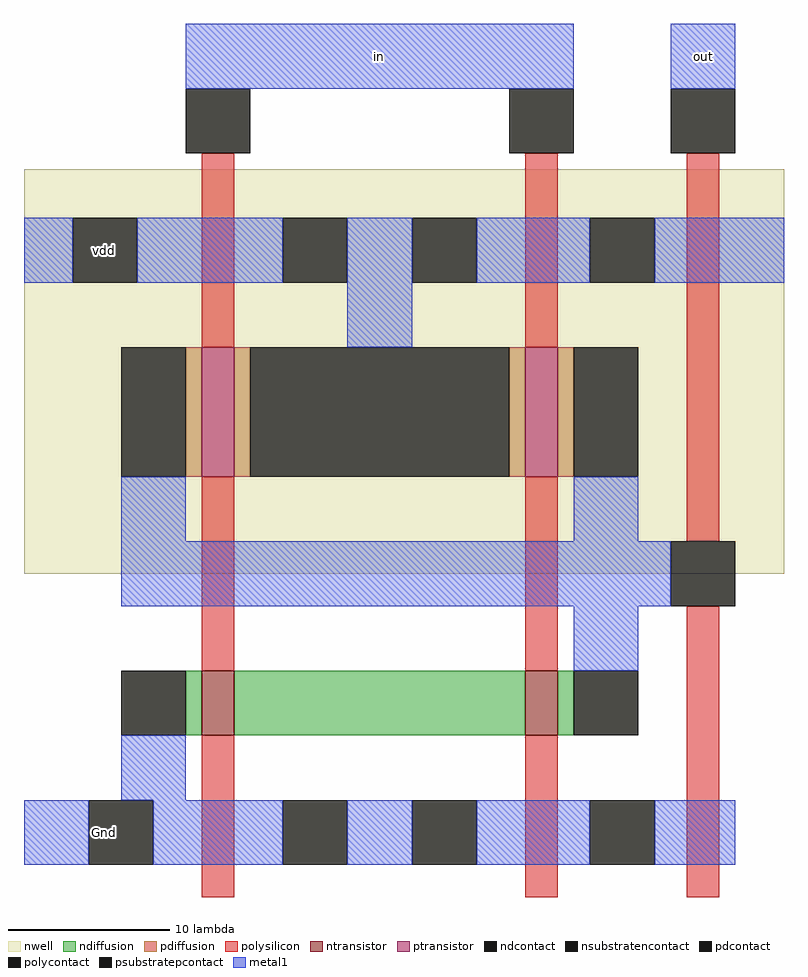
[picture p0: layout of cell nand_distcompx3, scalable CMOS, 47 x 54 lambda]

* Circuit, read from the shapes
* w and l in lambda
.subckt nand_distcompx3 Gnd in out vdd
M1 n1 in Gnd Gnd nfet w=4 l=2
M2 out in n1 Gnd nfet w=4 l=2
M3 vdd in out vdd pfet w=8 l=2 m=2
.ends

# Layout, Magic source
magic
tech scmos
<< nwell >>
rect -20 1 27 26
<< ntransistor >>
rect -9 -9 -7 -5
rect 11 -9 13 -5
<< ptransistor >>
rect -9 7 -7 15
rect 11 7 13 15
<< ndiffusion >>
rect -10 -9 -9 -5
rect -7 -9 11 -5
rect 13 -9 14 -5
<< pdiffusion >>
rect -10 7 -9 15
rect -7 7 -6 15
rect 10 7 11 15
rect 13 7 14 15
<< ndcontact >>
rect -14 -9 -10 -5
rect 14 -9 18 -5
<< pdcontact >>
rect -14 7 -10 15
rect -6 7 10 15
rect 14 7 18 15
<< psubstratepcontact >>
rect -16 -17 -12 -13
rect -4 -17 0 -13
rect 4 -17 8 -13
rect 15 -17 19 -13
<< nsubstratencontact >>
rect -17 19 -13 23
rect -4 19 0 23
rect 4 19 8 23
rect 15 19 19 23
<< polysilicon >>
rect -9 15 -7 27
rect 11 15 13 27
rect -9 -5 -7 7
rect 11 -5 13 7
rect 21 3 23 27
rect -9 -19 -7 -9
rect 11 -19 13 -9
rect 21 -19 23 -1
<< polycontact >>
rect -10 27 -6 31
rect 10 27 14 31
rect 20 27 24 31
rect 20 -1 24 3
<< metal1 >>
rect -10 31 14 35
rect 20 31 24 35
rect -20 19 -17 23
rect -13 19 -4 23
rect 0 15 4 23
rect 8 19 15 23
rect 19 19 27 23
rect -14 3 -10 7
rect 14 3 18 7
rect -14 -1 20 3
rect 14 -5 18 -1
rect -14 -13 -10 -9
rect -20 -17 -16 -13
rect -12 -17 -4 -13
rect 0 -17 4 -13
rect 8 -17 15 -13
rect 19 -17 24 -13
<< labels >>
rlabel metal1 -17 -17 -13 -13 2 Gnd
rlabel metal1 -17 19 -13 23 3 vdd
rlabel metal1 20 31 24 35 6 out
rlabel metal1 0 31 4 35 5 in
<< end >>
